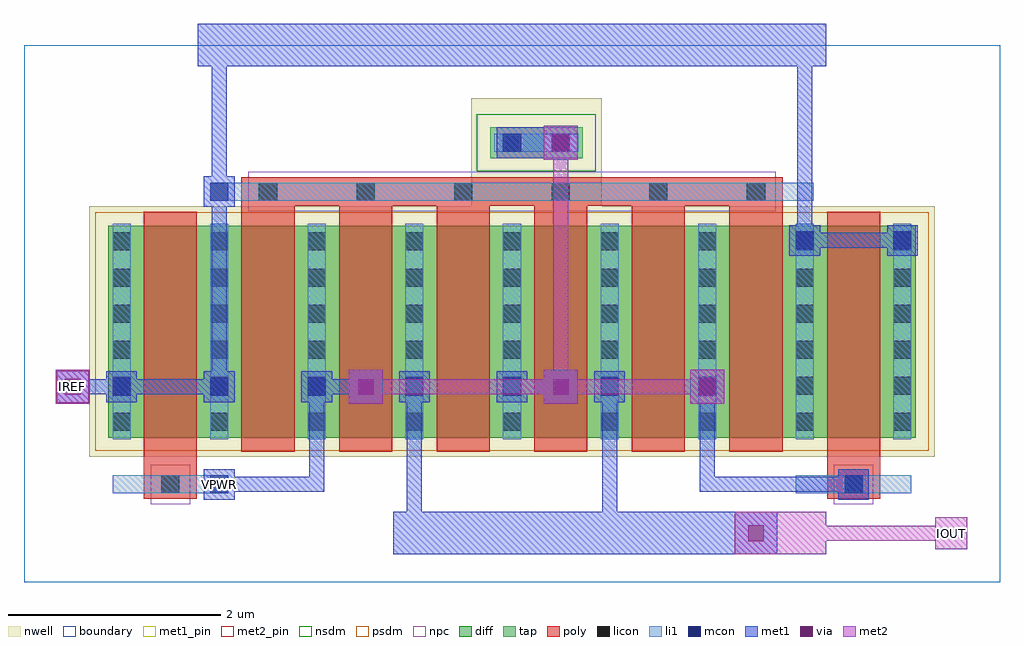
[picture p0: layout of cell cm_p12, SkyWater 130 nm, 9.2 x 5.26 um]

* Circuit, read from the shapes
.subckt cm_p12 IOUT IREF VPWR
XM1 IREF VPWR IREF VPWR sky130_fd_pr__pfet_01v8 w=2 l=0.5 m=2
XM2 VPWR IREF IREF VPWR sky130_fd_pr__pfet_01v8 w=2 l=0.5 m=2
XM3 IOUT IREF VPWR VPWR sky130_fd_pr__pfet_01v8 w=2 l=0.5 m=4
.ends

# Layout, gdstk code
import gdstk
lib = gdstk.Library(unit=1e-6, precision=1e-09)
def R(c, l, rs):  # rectangles x0, y0, x1, y1
    for r in rs: c.add(gdstk.rectangle(r[:2], r[2:], *l))
def A(c, l, x, y, w, h, nx, ny, dx, dy):  # array of equal rectangles
    R(c, l, [(x+i*dx, y+j*dy, x+i*dx+w, y+j*dy+h) for i in range(nx) for j in range(ny)])
nwell = (64, 20)
diff = (65, 20)
tap = (65, 44)
poly = (66, 20)
licon = (66, 44)
li1 = (67, 20)
mcon = (67, 44)
met1_pin = (68, 16)
met1 = (68, 20)
via = (68, 44)
met2_pin = (69, 16)
met2 = (69, 20)
nsdm = (93, 44)
psdm = (94, 20)
npc = (95, 20)
boundary = (235, 4)

cm_p12 = lib.new_cell('cm_p12')
R(cm_p12, nwell, [(0.615,1.18,8.585,3.54), (4.215,3.54,5.445,4.56)])
R(cm_p12, diff, [(0.795,1.36,8.405,3.36)])
R(cm_p12, tap, [(4.395,3.995,5.265,4.285)])
A(cm_p12, poly, 2.05, 1.23, 0.5, 2.45, 6, 1, 0.92, 0)
R(cm_p12, poly, [(1.13,0.785,1.63,1.055), (7.57,0.785,8.07,1.055), (1.13,0.92,1.63,3.49), (7.57,0.92,8.07,3.49), (2.05,3.545,7.15,3.815)])
A(cm_p12, licon, 0.835, 1.425, 0.17, 0.17, 9, 6, 0.92, 0.34)
A(cm_p12, licon, 2.215, 3.595, 0.17, 0.17, 6, 1, 0.92, 0)
R(cm_p12, licon, [(1.295,0.835,1.465,1.005), (7.735,0.835,7.905,1.005), (4.515,4.055,4.685,4.225), (4.975,4.055,5.145,4.225)])
A(cm_p12, li1, 0.835, 1.345, 0.17, 2.03, 9, 1, 0.92, 0)
R(cm_p12, li1, [(0.835,0.835,1.925,1.005), (7.275,0.835,8.365,1.005), (1.755,3.595,7.445,3.765), (4.435,4.055,5.225,4.225)])
A(cm_p12, mcon, 0.835, 1.755, 0.17, 0.17, 7, 1, 0.92, 0)
R(cm_p12, mcon, [(1.755,0.835,1.925,1.005), (7.735,0.835,7.905,1.005), (7.275,3.135,7.445,3.305), (8.195,3.135,8.365,3.305), (1.755,3.595,1.925,3.765), (4.515,4.055,4.685,4.225), (4.975,4.055,5.145,4.225)])
R(cm_p12, met1_pin, [(1.695,0.775,1.985,1.065)])
A(cm_p12, met1, 0.775, 1.695, 0.29, 0.29, 7, 1, 0.92, 0)
R(cm_p12, met1, [(3.48,0.26,5.72,0.66), (5.32,0.26,7.1,0.66), (6.7,0.26,7.1,0.66), (3.61,0.39,3.75,1.91), (5.45,0.39,5.59,1.91), (1.695,0.775,1.985,1.065), (7.675,0.775,7.965,1.065), (1.77,0.85,2.83,0.99), (2.69,0.85,2.83,1.91), (6.37,0.85,7.89,0.99), (6.37,0.85,6.51,1.91), (0.3,1.68,0.62,2), (3.06,1.68,3.38,2), (4.9,1.68,5.22,2), (6.28,1.68,6.6,2), (0.39,1.77,0.99,1.91), (0.85,1.77,1.91,1.91), (1.77,1.77,1.91,3.75), (2.69,1.77,3.29,1.91), (4.53,1.77,5.13,1.91), (7.215,3.075,7.505,3.365), (8.135,3.075,8.425,3.365), (7.29,3.15,8.35,3.29), (7.29,3.15,7.43,5.13), (1.695,3.535,1.985,3.825), (1.77,3.61,1.91,5.13), (4.9,3.98,5.22,4.3), (4.455,3.995,5.205,4.285), (4.99,4.07,5.13,4.21), (1.64,4.86,7.56,5.26)])
R(cm_p12, via, [(6.825,0.385,6.975,0.535), (0.385,1.765,0.535,1.915), (3.145,1.765,3.295,1.915), (4.985,1.765,5.135,1.915), (6.365,1.765,6.515,1.915), (4.985,4.065,5.135,4.215)])
R(cm_p12, met2_pin, [(8.59,0.31,8.89,0.61), (0.31,1.69,0.61,1.99)])
R(cm_p12, met2, [(6.7,0.26,7.1,0.66), (6.7,0.26,7.56,0.66), (8.59,0.31,8.89,0.61), (7.29,0.39,8.81,0.53), (8.67,0.39,8.81,0.53), (0.3,1.68,0.62,2), (3.06,1.68,3.38,2), (4.9,1.68,5.22,2), (6.28,1.68,6.6,2), (0.31,1.69,0.61,1.99), (0.39,1.77,0.53,1.91), (3.15,1.77,5.13,1.91), (4.99,1.77,6.51,1.91), (4.99,1.77,5.13,4.21), (4.9,3.98,5.22,4.3)])
R(cm_p12, nsdm, [(4.27,3.87,5.39,4.41)])
R(cm_p12, psdm, [(0.67,1.235,8.53,3.485)])
R(cm_p12, npc, [(1.195,0.735,1.565,1.105), (7.635,0.735,8.005,1.105), (2.115,3.495,7.085,3.865)])
R(cm_p12, boundary, [(0,0,9.2,5.06)])
cm_p12.add(gdstk.Label('VPWR', (1.84,0.92), layer=68, texttype=5))
cm_p12.add(gdstk.Label('IREF', (0.46,1.84), layer=69, texttype=5))
cm_p12.add(gdstk.Label('IOUT', (8.74,0.46), layer=69, texttype=5))
cm_p12.add(gdstk.Label('VPWR', (1.84,0.92), layer=68, texttype=16))
cm_p12.add(gdstk.Label('IREF', (0.46,1.84), layer=69, texttype=16))
cm_p12.add(gdstk.Label('IOUT', (8.74,0.46), layer=69, texttype=16))

lib.write_gds('cm_p12.gds')
